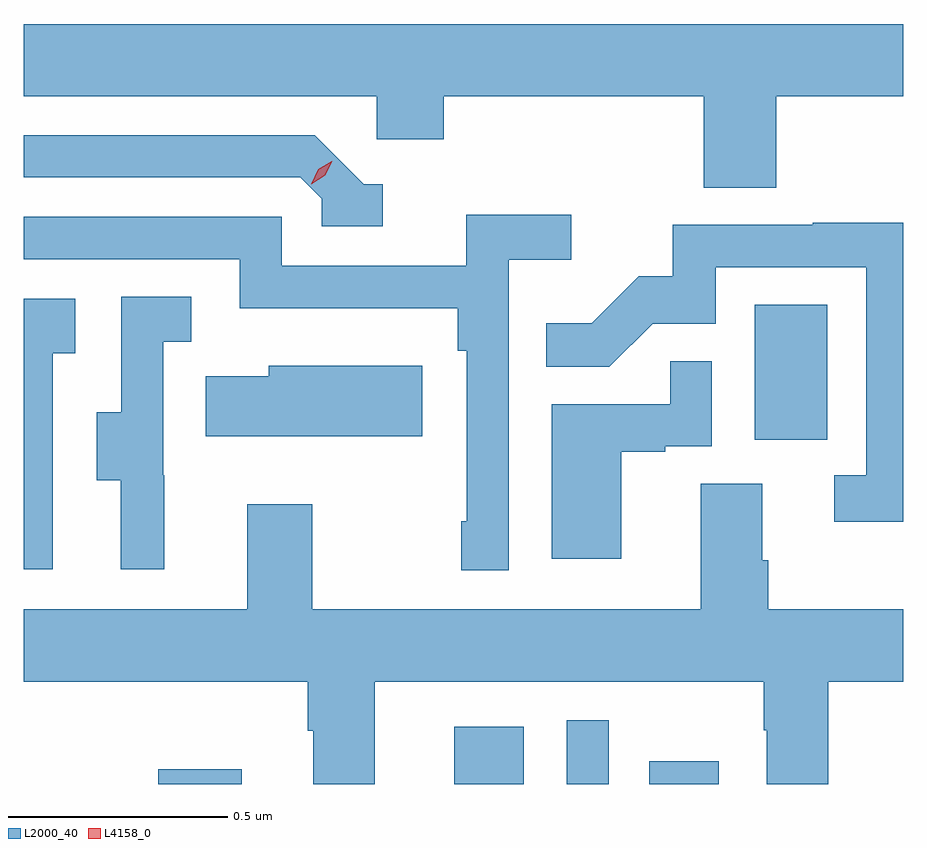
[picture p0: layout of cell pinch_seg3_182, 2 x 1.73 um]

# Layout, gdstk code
import gdstk
lib = gdstk.Library(unit=1e-6, precision=1e-09)
def R(c, l, rs):  # rectangles x0, y0, x1, y1
    for r in rs: c.add(gdstk.rectangle(r[:2], r[2:], *l))
def P(c, l, *ps):  # polygons
    for p in ps: c.add(gdstk.Polygon(p, *l))
L2000_40 = (2000, 40)
L4158_0 = (4158, 0)

pinch_seg3_182 = lib.new_cell('pinch_seg3_182')
R(pinch_seg3_182, L2000_40, [(996.727,744.639,996.916,744.673), (997.4,744.639,997.558,744.769), (997.656,744.639,997.752,744.784), (997.844,744.639,998.002,744.691), (998.084,745.422,998.248,745.729)])
P(pinch_seg3_182, L2000_40, [(996.421,746.204),(997.224,746.204),(997.224,746.106),(997.376,746.106),(997.376,746.204),(997.967,746.204),(997.967,745.996),(998.132,745.996),(998.132,746.204),(998.421,746.204),(998.421,746.368),(996.421,746.368)],
  [(997.237,746.004),(997.194,746.004),(997.083,746.115),(996.421,746.115),(996.421,746.019),(997.05,746.019),(997.098,745.971),(997.098,745.908),(997.237,745.908)],
  [(997.524,745.832),(997.666,745.832),(997.666,745.934),(997.427,745.934),(997.427,745.818),(997.008,745.818),(997.008,745.929),(996.421,745.929),(996.421,745.833),(996.912,745.833),(996.912,745.721),(997.408,745.721),(997.408,745.625),(997.428,745.625),(997.428,745.237),(997.416,745.237),(997.416,745.125),(997.524,745.125)],
  [(998.421,745.916),(998.215,745.916),(998.215,745.911),(997.897,745.911),(997.897,745.794),(997.82,745.794),(997.713,745.687),(997.609,745.687),(997.609,745.588),(997.753,745.588),(997.851,745.686),(997.995,745.686),(997.995,745.815),(998.337,745.815),(998.337,745.341),(998.265,745.341),(998.265,745.236),(998.421,745.236)],
  [(996.74,745.341),(996.738,745.341),(996.738,745.645),(996.802,745.645),(996.802,745.748),(996.642,745.748),(996.642,745.485),(996.587,745.485),(996.587,745.33),(996.641,745.33),(996.641,745.128),(996.74,745.128)],
  [(996.486,745.619),(996.538,745.619),(996.538,745.743),(996.421,745.743),(996.421,745.128),(996.486,745.128)],
  [(997.78,745.395),(997.88,745.395),(997.88,745.407),(997.986,745.407),(997.986,745.601),(997.891,745.601),(997.891,745.503),(997.622,745.503),(997.622,745.152),(997.78,745.152)],
  [(997.327,745.591),(996.978,745.591),(996.978,745.567),(996.835,745.567),(996.835,745.43),(997.327,745.43)],
  [(997.219,744.872),(998.104,744.872),(998.104,744.761),(998.111,744.761),(998.111,744.639),(998.251,744.639),(998.251,744.872),(998.421,744.872),(998.421,745.036),(998.114,745.036),(998.114,745.148),(998.101,745.148),(998.101,745.322),(997.961,745.322),(997.961,745.036),(997.077,745.036),(997.077,745.276),(996.929,745.276),(996.929,745.036),(996.421,745.036),(996.421,744.872),(997.067,744.872),(997.067,744.76),(997.079,744.76),(997.079,744.639),(997.219,744.639)])
P(pinch_seg3_182, L4158_0, [(997.075,746.004),(997.075,746.004),(997.091,746.037),(997.121,746.056),(997.122,746.056),(997.122,746.056),(997.106,746.024),(997.075,746.004)])

lib.write_gds('pinch_seg3_182.gds')
